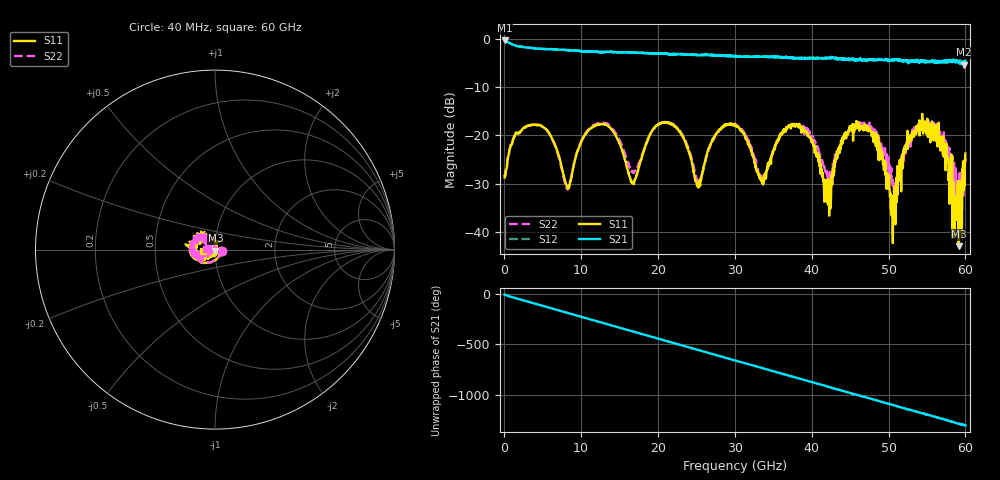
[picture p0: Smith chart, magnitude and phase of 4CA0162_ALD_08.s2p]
! File created by 'SoftPlot +Plus+ Measurement Management Software'
! SoftPlot +Plus+ Measurement Management Software
! Start 40.000000 MHz  Stop 60.000000 GHz  Points 1601
# MHZ S RI R 50
! S-Parameter data, F S11 S21 S12 S22
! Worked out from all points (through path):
!   1601 points, 40 MHz to 60 GHz, reference 50 ohm
!   highest |S21| = -0.38 dB at 40 MHz (marker M1); lowest = -5.4 dB at 59.85 GHz (marker M2)
!   group delay of S21, straight-line fit = 60.3 ps
!   lowest |S11| = -42.9 dB at 59.14 GHz (marker M3), VSWR 1.01, Z = 50.2 - j0.68 ohm
!   |S11| at or under -10 dB: start of sweep to end of sweep
!   |S22| runs from -37.4 to -17.1 dB; largest |S21 - S12| = 0.053
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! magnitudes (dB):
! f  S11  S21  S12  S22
! 40 MHz  -28.7  -0.4  -0.4  -28.0
! 4.462 GHz  -17.8  -2.1  -2.1  -17.9
! 8.247 GHz  -30.6  -2.4  -2.4  -31.3
! 10.05 GHz  -21.3  -2.6  -2.6  -21.0
! 13.53 GHz  -18.1  -2.7  -2.7  -17.8
! 16.75 GHz  -29.9  -2.9  -2.9  -27.7
! 20.05 GHz  -17.7  -3.1  -3.0  -17.7
! 25.19 GHz  -30.3  -3.4  -3.3  -29.6
! 30.02 GHz  -18.0  -3.6  -3.5  -17.6
! 33.51 GHz  -29.4  -3.7  -3.7  -28.7
! 36.95 GHz  -18.2  -3.9  -3.9  -18.2
! 40.03 GHz  -21.0  -4.0  -4.0  -20.4
! 42.24 GHz  -31.4  -4.0  -4.0  -28.4
! 44.15 GHz  -20.4  -4.2  -4.0  -20.7
! 47.33 GHz  -18.2  -4.5  -4.3  -17.7
! 50.03 GHz  -31.0  -4.5  -4.2  -30.5
! 50.59 GHz  -35.2  -4.4  -4.4  -29.8
! 54.45 GHz  -16.7  -4.6  -4.5  -17.8
! 57.3 GHz  -23.5  -4.9  -4.7  -20.9
! 59.14 GHz  -42.9  -4.7  -4.6  -33.7
! 59.85 GHz  -29.2  -5.4  -5.1  -28.1
! 60 GHz  -23.8  -4.7  -4.8  -26.3
